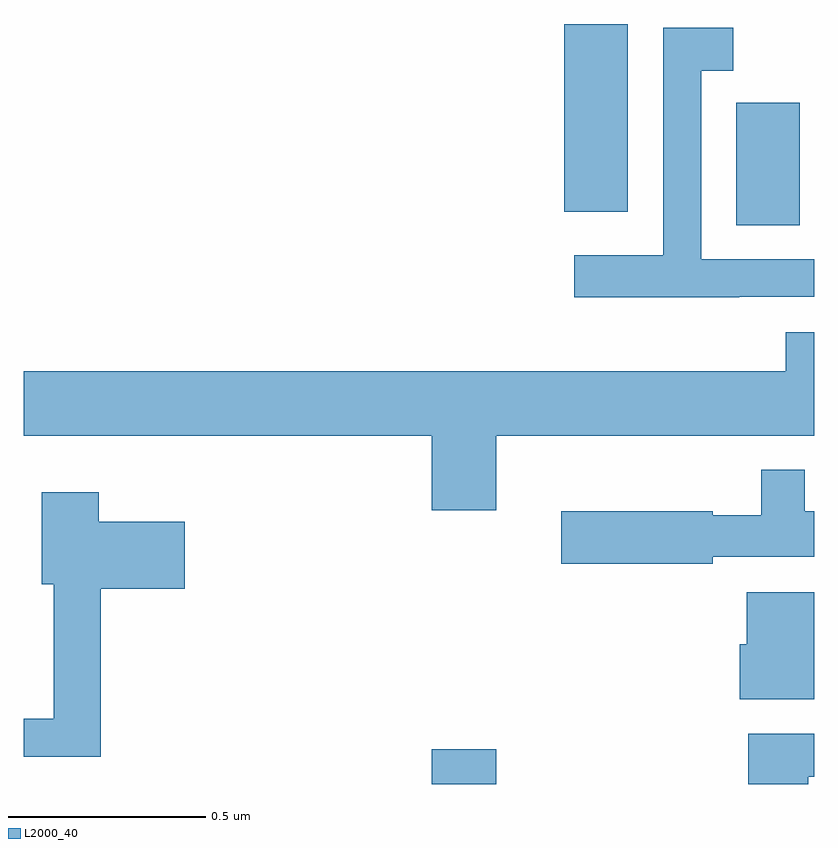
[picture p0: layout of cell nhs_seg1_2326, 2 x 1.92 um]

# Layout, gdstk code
import gdstk
lib = gdstk.Library(unit=1e-6, precision=1e-09)
def R(c, l, rs):  # rectangles x0, y0, x1, y1
    for r in rs: c.add(gdstk.rectangle(r[:2], r[2:], *l))
def P(c, l, *ps):  # polygons
    for p in ps: c.add(gdstk.Polygon(p, *l))
L2000_40 = (2000, 40)

nhs_seg1_2326 = lib.new_cell('nhs_seg1_2326')
R(nhs_seg1_2326, L2000_40, [(141.032,536.199,141.196,536.287), (141.803,537.613,141.964,537.924), (141.368,537.648,141.529,538.123)])
P(nhs_seg1_2326, L2000_40, [(141.811,537.432),(142,537.432),(142,537.528),(141.714,537.528),(141.714,538.005),(141.796,538.005),(141.796,538.114),(141.618,538.114),(141.618,537.538),(141.393,537.538),(141.393,537.431),(141.811,537.431)],
  [(141.196,537.08),(142,537.08),(142,537.343),(141.929,537.343),(141.929,537.244),(140,537.244),(140,537.08),(141.032,537.08),(141.032,536.892),(141.196,536.892)],
  [(141.744,536.774),(142,536.774),(142,536.89),(141.976,536.89),(141.976,536.995),(141.867,536.995),(141.867,536.879),(141.744,536.879),(141.744,536.89),(141.36,536.89),(141.36,536.756),(141.744,536.756)],
  [(140.194,536.693),(140.407,536.693),(140.407,536.863),(140.189,536.863),(140.189,536.938),(140.045,536.938),(140.045,536.705),(140.075,536.705),(140.075,536.364),(140,536.364),(140,536.268),(140.194,536.268)],
  [(142,536.684),(141.83,536.684),(141.83,536.553),(141.812,536.553),(141.812,536.414),(142,536.414)],
  [(141.985,536.217),(142,536.217),(142,536.326),(141.833,536.326),(141.833,536.199),(141.985,536.199)])

lib.write_gds('nhs_seg1_2326.gds')
